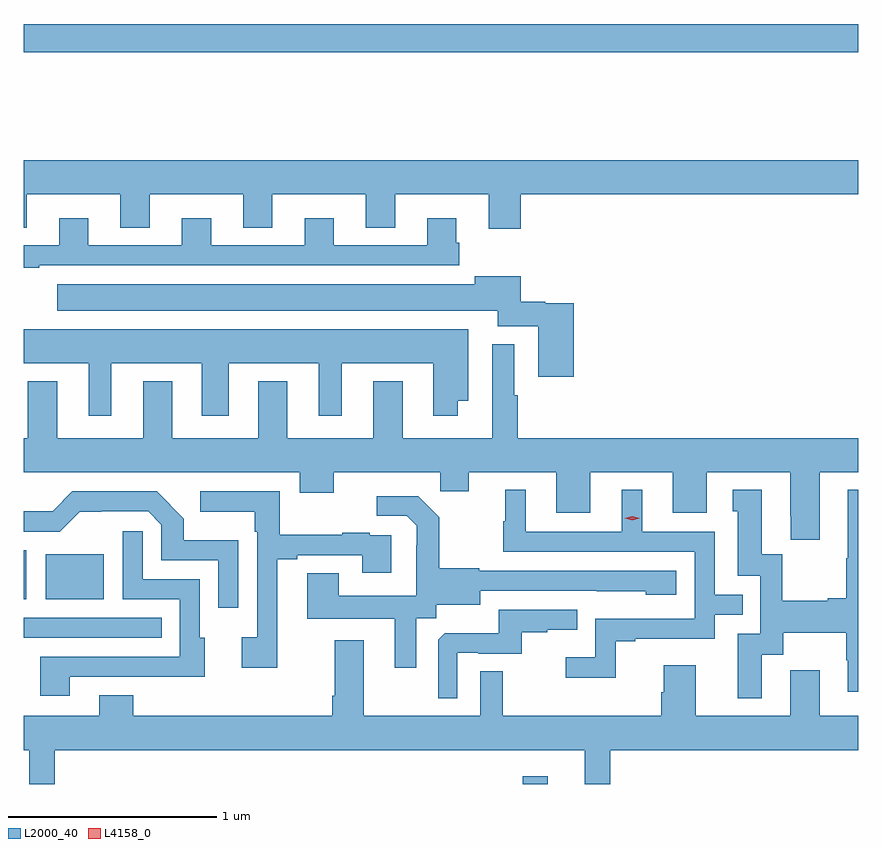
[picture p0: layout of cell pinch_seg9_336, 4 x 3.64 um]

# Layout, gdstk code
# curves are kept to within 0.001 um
import gdstk
lib = gdstk.Library(unit=1e-6, precision=1e-09)
def R(c, l, rs):  # rectangles x0, y0, x1, y1
    for r in rs: c.add(gdstk.rectangle(r[:2], r[2:], *l))
def P(c, l, *ps):  # polygons
    for p in ps: c.add(gdstk.Polygon(p, *l))
L2000_40 = (2000, 40)
L4158_0 = (4158, 0)

pinch_seg9_336 = lib.new_cell('pinch_seg9_336')
R(pinch_seg9_336, L2000_40, [(546.888,1168.286,547.009,1168.324), (544.497,1168.986,545.159,1169.082), (544.497,1169.171,544.51,1169.407), (544.604,1169.171,544.882,1169.386), (544.497,1171.792,548.497,1171.928)])
P(pinch_seg9_336, L2000_40, [(546.878,1171.112),(548.497,1171.112),(548.497,1171.276),(544.497,1171.276),(544.497,1170.952),(544.513,1170.952),(544.513,1171.112),(544.961,1171.112),(544.961,1170.952),(545.101,1170.952),(545.101,1171.112),(545.549,1171.112),(545.549,1170.952),(545.689,1170.952),(545.689,1171.112),(546.137,1171.112),(546.137,1170.952),(546.277,1170.952),(546.277,1171.112),(546.725,1171.112),(546.725,1170.948),(546.878,1170.948)],
  [(544.571,1170.771),(546.584,1170.771),(546.584,1170.879),(546.571,1170.879),(546.571,1170.997),(546.431,1170.997),(546.431,1170.867),(545.983,1170.867),(545.983,1170.997),(545.843,1170.997),(545.843,1170.867),(545.395,1170.867),(545.395,1170.997),(545.255,1170.997),(545.255,1170.867),(544.807,1170.867),(544.807,1170.997),(544.667,1170.997),(544.667,1170.867),(544.497,1170.867),(544.497,1170.759),(544.571,1170.759)],
  [(547.133,1170.589),(546.996,1170.589),(546.996,1170.597),(546.88,1170.597),(546.88,1170.718),(546.659,1170.718),(546.659,1170.682),(544.659,1170.682),(544.659,1170.554),(546.77,1170.554),(546.77,1170.479),(546.962,1170.479),(546.962,1170.237),(547.133,1170.237)],
  [(544.918,1170.302),(545.351,1170.302),(545.351,1170.051),(545.479,1170.051),(545.479,1170.302),(545.912,1170.302),(545.912,1170.051),(546.022,1170.051),(546.022,1170.302),(546.461,1170.302),(546.461,1170.051),(546.577,1170.051),(546.577,1170.122),(546.628,1170.122),(546.628,1170.466),(544.497,1170.466),(544.497,1170.302),(544.808,1170.302),(544.808,1170.051),(544.918,1170.051)],
  [(546.743,1170.394),(546.743,1169.944),(546.313,1169.944),(546.313,1170.217),(546.173,1170.217),(546.173,1169.944),(545.761,1169.944),(545.761,1170.217),(545.621,1170.217),(545.621,1169.944),(545.209,1169.944),(545.209,1170.217),(545.069,1170.217),(545.069,1169.944),(544.657,1169.944),(544.657,1170.217),(544.517,1170.217),(544.517,1169.944),(544.497,1169.944),(544.497,1169.78),(545.819,1169.78),(545.819,1169.681),(545.983,1169.681),(545.983,1169.78),(546.493,1169.78),(546.493,1169.69),(546.631,1169.69),(546.631,1169.78),(547.049,1169.78),(547.049,1169.586),(547.213,1169.586),(547.213,1169.78),(547.607,1169.78),(547.607,1169.586),(547.771,1169.586),(547.771,1169.78),(548.171,1169.78),(548.171,1169.569),(548.174,1169.569),(548.174,1169.457),(548.311,1169.457),(548.311,1169.78),(548.497,1169.78),(548.497,1169.944),(546.865,1169.944),(546.865,1170.149),(546.847,1170.149),(546.847,1170.394)],
  [(548.035,1168.906),(548.137,1168.906),(548.137,1169.012),(548.44,1169.012),(548.44,1168.878),(548.447,1168.878),(548.447,1168.728),(548.497,1168.728),(548.497,1169.695),(548.447,1169.695),(548.447,1169.369),(548.44,1169.369),(548.44,1169.177),(548.351,1169.177),(548.351,1169.164),(548.133,1169.164),(548.133,1169.387),(548.035,1169.387),(548.035,1169.695),(547.895,1169.695),(547.895,1169.592),(547.919,1169.592),(547.919,1169.283),(548.028,1169.283),(548.028,1169.007),(547.919,1169.007),(547.919,1168.698),(548.035,1168.698)],
  [(547.335,1168.971),(547.429,1168.971),(547.429,1168.983),(547.809,1168.983),(547.809,1169.097),(547.943,1169.097),(547.943,1169.193),(547.809,1169.193),(547.809,1169.496),(547.462,1169.496),(547.462,1169.695),(547.364,1169.695),(547.364,1169.496),(546.904,1169.496),(546.904,1169.695),(546.806,1169.695),(546.806,1169.544),(546.795,1169.544),(546.795,1169.4),(547.713,1169.4),(547.713,1169.079),(547.236,1169.079),(547.236,1168.894),(547.095,1168.894),(547.095,1168.796),(547.335,1168.796)],
  [(545.526,1169.455),(545.265,1169.455),(545.265,1169.558),(545.134,1169.688),(544.731,1169.688),(544.637,1169.594),(544.497,1169.594),(544.497,1169.496),(544.671,1169.496),(544.766,1169.591),(545.094,1169.592),(545.157,1169.529),(545.157,1169.358),(545.43,1169.358),(545.43,1169.13),(545.526,1169.13)],
  [(545.713,1169.364),(545.809,1169.364),(545.809,1169.382),(546.119,1169.382),(546.119,1169.298),(546.259,1169.298),(546.259,1169.478),(546.155,1169.478),(546.155,1169.491),(546.023,1169.491),(546.023,1169.48),(545.725,1169.48),(545.725,1169.688),(545.343,1169.688),(545.343,1169.591),(545.604,1169.591),(545.604,1169.495),(545.616,1169.495),(545.616,1168.99),(545.541,1168.99),(545.541,1168.842),(545.713,1168.842)],
  [(546.379,1169.08),(546.474,1169.08),(546.474,1169.144),(546.685,1169.144),(546.685,1169.211),(547.479,1169.21),(547.479,1169.192),(547.624,1169.192),(547.624,1169.307),(546.681,1169.307),(546.681,1169.32),(546.489,1169.32),(546.489,1169.565),(546.389,1169.665),(546.189,1169.665),(546.189,1169.571),(546.333,1169.571),(546.38,1169.524),(546.38,1169.429),(546.378,1169.429),(546.378,1169.188),(546.007,1169.188),(546.007,1169.297),(545.855,1169.297),(545.855,1169.078),(546.275,1169.078),(546.275,1168.842),(546.379,1168.842)],
  [(544.717,1168.8),(545.147,1168.8),(545.147,1168.799),(545.365,1168.799),(545.365,1168.986),(545.34,1168.986),(545.34,1169.268),(545.067,1169.268),(545.067,1169.497),(544.971,1169.497),(544.971,1169.172),(545.244,1169.172),(545.244,1168.896),(544.577,1168.896),(544.577,1168.71),(544.717,1168.71)],
  [(546.576,1168.914),(546.676,1168.914),(546.676,1168.911),(546.884,1168.911),(546.884,1169.013),(547.007,1169.013),(547.007,1169.024),(547.151,1169.024),(547.151,1169.121),(546.774,1169.121),(546.774,1169.009),(546.515,1169.009),(546.483,1168.977),(546.483,1168.697),(546.576,1168.697)],
  [(544.645,1168.448),(547.187,1168.448),(547.187,1168.286),(547.309,1168.286),(547.309,1168.448),(548.497,1168.448),(548.497,1168.612),(548.311,1168.612),(548.311,1168.831),(548.171,1168.831),(548.171,1168.612),(547.717,1168.612),(547.717,1168.855),(547.565,1168.855),(547.565,1168.725),(547.553,1168.725),(547.553,1168.612),(546.793,1168.612),(546.793,1168.826),(546.684,1168.826),(546.684,1168.612),(546.127,1168.612),(546.127,1168.975),(545.987,1168.975),(545.987,1168.708),(545.975,1168.708),(545.975,1168.612),(545.023,1168.612),(545.023,1168.711),(544.859,1168.711),(544.859,1168.612),(544.497,1168.612),(544.497,1168.448),(544.523,1168.448),(544.523,1168.286),(544.645,1168.286)])
P(pinch_seg9_336, L4158_0, [(547.413,1169.55),(547.378,1169.559),(547.377,1169.56),(547.378,1169.56),(547.413,1169.57),(547.449,1169.56),(547.449,1169.56),(547.449,1169.559)])

lib.write_gds('pinch_seg9_336.gds')
